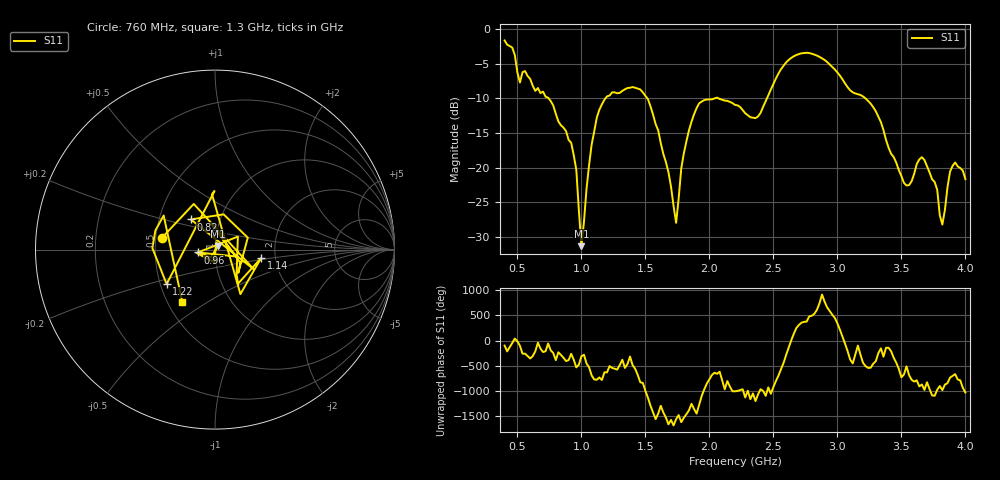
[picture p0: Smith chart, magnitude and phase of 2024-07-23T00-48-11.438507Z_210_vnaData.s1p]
!Created with skrf (http://scikit-rf.org).
# Hz S RI R 50.0
!freq ReS11 ImS11
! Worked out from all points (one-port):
!   181 points, 400 MHz to 4 GHz, reference 50 ohm
!   lowest |S11| = -31.3 dB at 1 GHz (marker M1), VSWR 1.06, Z = 51.7 + j2.17 ohm
!   |S11| at or under -10 dB: 743.4 MHz to 1.188 GHz (445.1 MHz wide, 46.1 % of centre); 1.514 GHz to 2.044 GHz (529.4 MHz wide, 29.8 % of centre); 3.218 GHz to end of sweep (the widest 3 of 4)
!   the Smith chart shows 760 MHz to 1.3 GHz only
!   S11 on the Smith chart (normalised r, x): 760 MHz: 0.54, +0.08; 820 MHz: 0.72, +0.26; 960 MHz: 0.83, -0.03; 1.14 GHz: 1.68, -0.17; 1.22 GHz: 0.54, -0.23; 1.3 GHz: 0.59, -0.40
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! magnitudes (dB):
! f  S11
! 400 MHz  -1.7
! 520 MHz  -7.7
! 760 MHz  -10.4
! 820 MHz  -13.3
! 860 MHz  -14.2
! 960 MHz  -20.3
! 1 GHz  -31.3
! 1.08 GHz  -16.7
! 1.14 GHz  -11.7
! 1.22 GHz  -9.6
! 1.3 GHz  -9.2
! 1.52 GHz  -10.1
! 1.68 GHz  -20.6
! 1.74 GHz  -27.9
! 1.76 GHz  -24.4
! 1.82 GHz  -16.2
! 1.92 GHz  -10.7
! 2.2 GHz  -11.0
! 2.38 GHz  -12.6
! 2.66 GHz  -3.9
! 3.1 GHz  -8.9
! 3.3 GHz  -11.9
! 3.56 GHz  -22.5
! 3.68 GHz  -18.9
! 3.78 GHz  -23.2
! 3.82 GHz  -28.2
! 3.9 GHz  -19.7
! 4 GHz  -21.7
